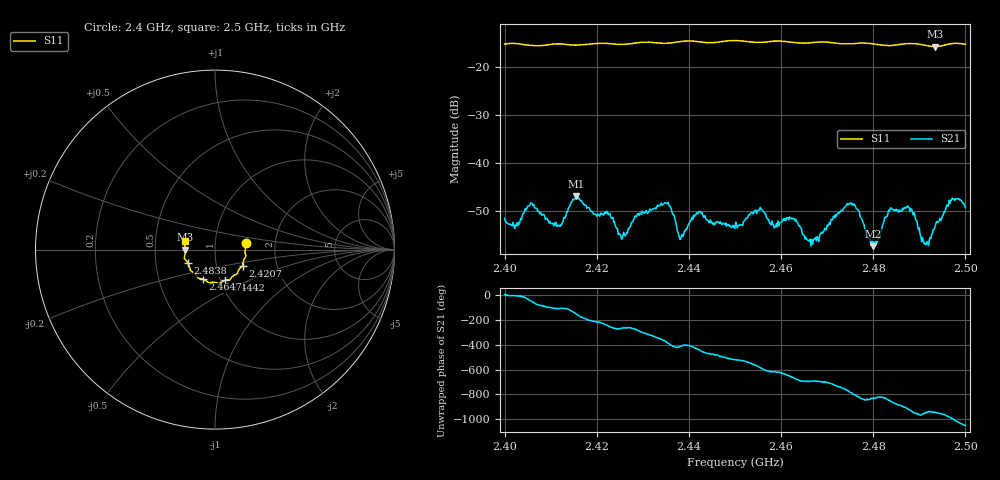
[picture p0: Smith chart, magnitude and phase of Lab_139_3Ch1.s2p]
# Hz S RI R 50
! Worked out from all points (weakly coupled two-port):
!   601 points, 2.4 GHz to 2.5 GHz, reference 50 ohm
!   highest |S21| = -47.06 dB at 2.4155 GHz (marker M1); lowest = -57.5 dB at 2.48 GHz (marker M2)
!   lowest |S11| = -15.7 dB at 2.4933 GHz (marker M3), VSWR 1.39, Z = 35.9 - j0.0714 ohm
!   |S11| at or under -10 dB: start of sweep to end of sweep
!   S12 and S22 are empty: the file has one direction only
!   S11 on the Smith chart (normalised r, x): 2.4 GHz: 1.40, +0.11; 2.4207 GHz: 1.34, -0.25; 2.4442 GHz: 1.06, -0.37; 2.4647 GHz: 0.83, -0.29; 2.4838 GHz: 0.73, -0.11; 2.5 GHz: 0.71, +0.07
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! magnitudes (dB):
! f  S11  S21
! 2.4 GHz  -15.2  -51.6
! 2.4058 GHz  -15.5  -48.5
! 2.4118 GHz  -15.1  -53.1
! 2.4155 GHz  -15.4  -47.1
! 2.4167 GHz  -15.3  -47.9
! 2.4207 GHz  -15.0  -51.2
! 2.4258 GHz  -15.2  -54.6
! 2.4333 GHz  -14.9  -49.0
! 2.4383 GHz  -14.6  -55.4
! 2.4442 GHz  -14.9  -52.1
! 2.45 GHz  -14.4  -53.7
! 2.4555 GHz  -14.8  -49.3
! 2.4647 GHz  -15.0  -55.0
! 2.4667 GHz  -14.9  -56.1
! 2.475 GHz  -15.1  -48.4
! 2.48 GHz  -15.1  -57.5
! 2.4833 GHz  -15.5  -49.9
! 2.4838 GHz  -15.5  -49.4
! 2.488 GHz  -15.0  -50.2
! 2.4915 GHz  -15.5  -57.1
! 2.4933 GHz  -15.7  -53.7
! 2.5 GHz  -15.2  -49.4
